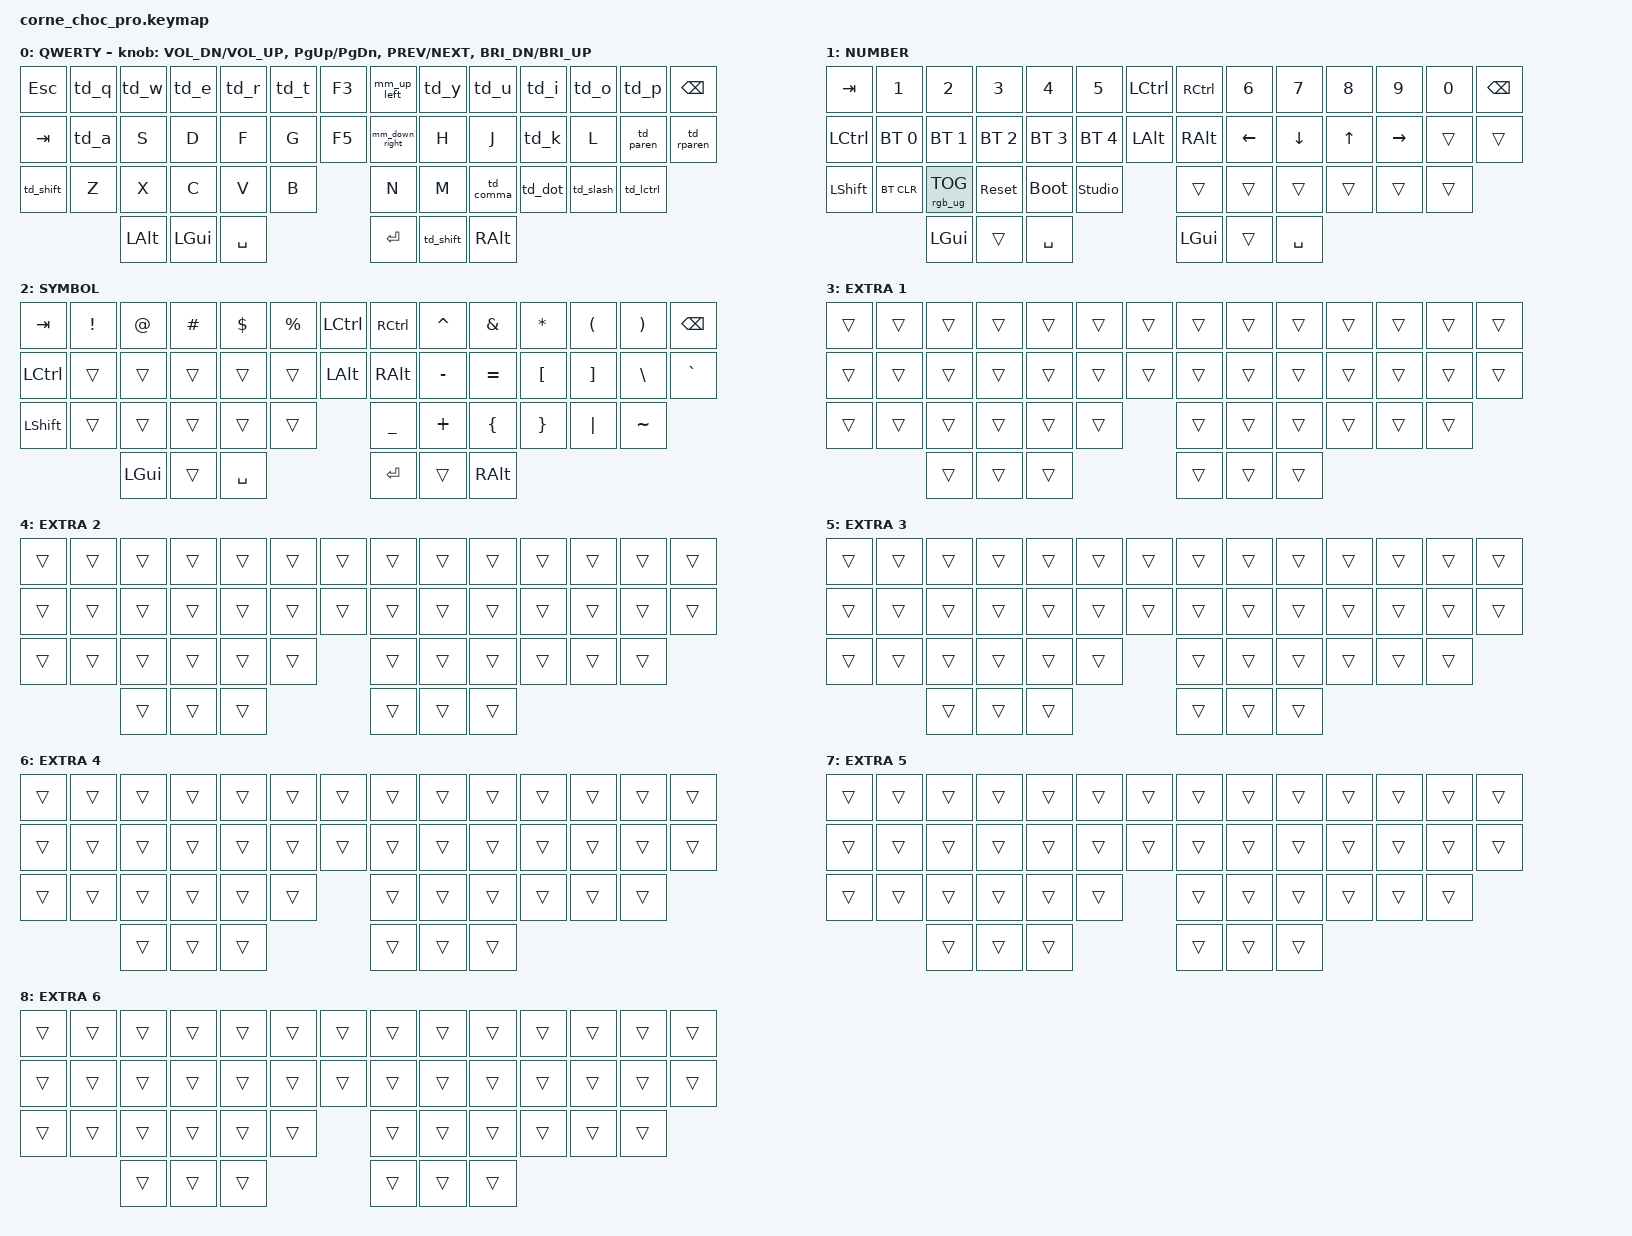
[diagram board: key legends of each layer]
/*
 * Copyright (c) 2020 The ZMK Contributors
 *
 * SPDX-License-Identifier: MIT
 */

#include <behaviors.dtsi>
#include <dt-bindings/zmk/keys.h>
#include <dt-bindings/zmk/bt.h>
#include <dt-bindings/zmk/rgb.h>

/ {

    

behaviors {

    // Generic hold-tap: HOLD (param1), TAP (param2)
    ht_kp: ht_kp {
        compatible = "zmk,behavior-hold-tap";
        label = "HT_KP";
        #binding-cells = <2>;
        tapping-term-ms = <250>;
        quick-tap-ms = <0>;
        flavor = "balanced";
        bindings = <&kp>, <&kp>;
    };

    // ─────────────────────────────
    // Letter row with numbers on hold + tap dance
    // ─────────────────────────────


td_q: td_q {
    compatible = "zmk,behavior-tap-dance";
    #binding-cells = <0>;
    tapping-term-ms = <200>;
    bindings = <&ht_kp N1 Q>, <&kp EXCL>;
};

td_w: td_w {
    compatible = "zmk,behavior-tap-dance";
    #binding-cells = <0>;
    tapping-term-ms = <200>;
    bindings = <&ht_kp N2 W>, <&kp LS(N2)>;
};

td_e: td_e {
    compatible = "zmk,behavior-tap-dance";
    #binding-cells = <0>;
    tapping-term-ms = <200>;
    bindings = <&ht_kp N3 E>;
};

td_r: td_r {
    compatible = "zmk,behavior-tap-dance";
    #binding-cells = <0>;
    tapping-term-ms = <200>;
    bindings = <&ht_kp N4 R>;
};

td_t: td_t {
    compatible = "zmk,behavior-tap-dance";
    #binding-cells = <0>;
    tapping-term-ms = <200>;
    bindings = <&ht_kp N5 T>, <&kp PRCNT>;
};

td_y: td_y {
    compatible = "zmk,behavior-tap-dance";
    #binding-cells = <0>;
    tapping-term-ms = <200>;
    bindings = <&ht_kp N6 Y>, <&kp LS(N7)>;
};

td_u: td_u {
    compatible = "zmk,behavior-tap-dance";
    #binding-cells = <0>;
    tapping-term-ms = <200>;
    bindings = <&ht_kp N7 U>, <&kp LBKT>;
};

td_i: td_i {
    compatible = "zmk,behavior-tap-dance";
    #binding-cells = <0>;
    tapping-term-ms = <200>;
    bindings = <&ht_kp N8 I>;
};

td_o: td_o {
    compatible = "zmk,behavior-tap-dance";
    #binding-cells = <0>;
    tapping-term-ms = <200>;
    bindings = <&ht_kp N9 O>, <&kp SEMI>;
};

td_p: td_p {
    compatible = "zmk,behavior-tap-dance";
    #binding-cells = <0>;
    tapping-term-ms = <200>;
    bindings = <&ht_kp N0 P>, <&kp LS(MINUS)>;
};

    // ─────────────────────────────
    // Rest Tap-Dance Keys
    // ─────────────────────────────

    td_a: td_a {
        compatible = "zmk,behavior-tap-dance";
        #binding-cells = <0>;
        tapping-term-ms = <200>;
        bindings = <&kp A>, <&kp SQT>;
    };

    td_k: td_k {
        compatible = "zmk,behavior-tap-dance";
        #binding-cells = <0>;
        tapping-term-ms = <200>;
        bindings = <&kp K>, <&kp KP_MULTIPLY>;

    };

    td_comma: td_comma {
        compatible = "zmk,behavior-tap-dance";
        #binding-cells = <0>;
        tapping-term-ms = <200>;
        bindings = <&kp COMMA>, <&kp LS(N0)>;

    };

    td_dot: td_dot {
        compatible = "zmk,behavior-tap-dance";
        #binding-cells = <0>;
        tapping-term-ms = <200>;
        bindings = <&ht_kp LS(FSLH) DOT>, <&kp LS(DOT)>;

    };

    td_slash: td_slash {
        compatible = "zmk,behavior-tap-dance";
        #binding-cells = <0>;
        tapping-term-ms = <200>;
        bindings = <&ht_kp NON_US_HASH FSLH>, <&kp RBKT>;

    };

    td_paren: td_paren {
        compatible = "zmk,behavior-tap-dance";
        #binding-cells = <0>;
        tapping-term-ms = <200>;
        bindings = <&ht_kp RA(N8) LS(N8)>, <&kp RA(N5)>;

    };

    td_rparen: td_rparen {
        compatible = "zmk,behavior-tap-dance";
        #binding-cells = <0>;
        tapping-term-ms = <200>;
        bindings = <&ht_kp RA(N9) LS(N9)>, <&kp RA(N6)>;

    };

    td_shift: td_shift {
        compatible = "zmk,behavior-tap-dance";
        #binding-cells = <0>;
        tapping-term-ms = <200>;
        bindings = <&kp LSHFT>, <&kp CAPS>;
    };

    
    td_lctrl: td_lctrl {
        compatible = "zmk,behavior-tap-dance";
        #binding-cells = <0>;
        tapping-term-ms = <200>;
        bindings = 
            <&kp LCTRL>,           // 1x Tap → Ctrl (auch Hold)
            <&rgb_ug RGB_TOG>,     // 2x Tap → RGB an/aus
            <&rgb_ug RGB_EFF>;     // 3x Tap → Effekt wechseln
    };


    mm_up_left: mm_up_left {
        compatible = "zmk,behavior-mod-morph";
        #binding-cells = <0>;
        bindings = <&kp UP>, <&kp LEFT>;
        mods = <(MOD_LGUI)>;
    };

    mm_down_right: mm_down_right {
        compatible = "zmk,behavior-mod-morph";
        #binding-cells = <0>;
        bindings = <&kp DOWN>, <&kp RIGHT>;
        mods = <(MOD_LGUI)>;
    };

    };



    keymap {
        compatible = "zmk,keymap";

        default_layer {
            display-name = "QWERTY";
            // ┌──────┬──────┬──────┬──────┬──────┬──────┬──────┬──────┬──────┬──────┬──────┬──────┬──────┬──────┐
            // │ ESC  │ Q(!) │ W(") │ E(3) │ R(4) │ T(%) │  F3  │  UP  │ Y(/) │ U(Ü) │ I(8) │ O(Ö) │ P(?) │ BSPC │
            // ├──────┼──────┼──────┼──────┼──────┼──────┼──────┼──────┼──────┼──────┼──────┼──────┼──────┼──────┤
            // │ TAB* │ A(Ä) │  S   │  D   │  F   │  G   │  F5  │ DOWN │  H   │  J   │ K(*) │   L  │(([ ) │ )()) │
            // ├──────┼──────┼──────┼──────┼──────┼──────┼──────┴──────┼──────┼──────┼──────┼──────┼──────┼──────┤
            // │ SFT* │  Z   │  X   │  C   │  V   │  B   │             │  N   │  M   │ ,(=) │ .(:_)│ -(+#)│ CTRL │
            // └──────┴──────┴──────┴──────┼──────┼──────┼──────┬──────┼──────┼──────┴──────┴──────┴──────┴──────┘
            //                             │ ALT* │ GUI  │  SPC │ ENT  │ SFT* │ ALT  │
            //                             └──────┴──────┴──────┴──────┴──────┴──────┘
           

bindings = <
    &kp ESC     &td_q   &td_w   &td_e   &td_r   &td_t   &kp F3     &mm_up_left     &td_y   &td_u   &td_i   &td_o   &td_p   &kp BSPC

    &kp TAB     &td_a   &kp S   &kp D   &kp F   &kp G   &kp F5     &mm_down_right   &kp H   &kp J   &td_k   &kp L   &td_paren   &td_rparen

    &td_shift   &kp Z   &kp X   &kp C   &kp V   &kp B              &kp N   &kp M   &td_comma   &td_dot   &td_slash   &td_lctrl

                          &kp LALT   &kp LGUI   &kp SPACE          &kp RET      &td_shift   &kp RALT
>;


            sensor-bindings = <&inc_dec_kp C_VOL_DN C_VOL_UP &inc_dec_kp PG_UP PG_DN &inc_dec_kp C_PREV C_NEXT &inc_dec_kp C_BRI_DN C_BRI_UP>;
        };

        lower_layer {
            display-name = "NUMBER";
            bindings = <
                &kp TAB   &kp N1       &kp N2          &kp N3       &kp N4       &kp N5       &kp LCTRL &kp RCTRL &kp N6   &kp N7   &kp N8 &kp N9    &kp N0 &kp BSPC
                &kp LCTRL &bt BT_SEL 0 &bt BT_SEL 1    &bt BT_SEL 2 &bt BT_SEL 3 &bt BT_SEL 4 &kp LALT  &kp RALT  &kp LEFT &kp DOWN &kp UP &kp RIGHT &trans &trans
                &kp LSHFT &bt BT_CLR   &rgb_ug RGB_TOG &sys_reset   &bootloader  &studio_unlock                   &trans   &trans   &trans &trans    &trans &trans
                                                        &kp LGUI     &trans       &kp SPACE                        &kp LGUI &trans   &kp SPACE
            >;
        };

        raise_layer {
            display-name = "SYMBOL";
            bindings = <
                &kp  TAB  &kp EXCL &kp AT &kp HASH &kp DLLR &kp PRCNT &kp LCTRL &kp RCTRL &kp CARET &kp AMPS &kp ASTRK &kp LPAR &kp RPAR &kp BSPC
                &kp LCTRL &trans   &trans &trans   &trans   &trans    &kp LALT  &kp RALT  &kp MINUS &kp EQUAL &kp LBKT &kp RBKT &kp BSLH &kp GRAVE
                &kp LSHFT &trans   &trans &trans   &trans   &trans                        &kp UNDER &kp PLUS  &kp LBRC &kp RBRC &kp PIPE &kp TILDE
                                           &kp LGUI &trans   &kp SPACE                     &kp RET   &trans    &kp RALT
            >;
        };

        extra_layer_1 {
            display-name = "EXTRA 1";
            bindings = <
                &trans &trans &trans &trans &trans &trans &trans &trans &trans &trans &trans &trans &trans &trans
                &trans &trans &trans &trans &trans &trans &trans &trans &trans &trans &trans &trans &trans &trans
                &trans &trans &trans &trans &trans &trans               &trans &trans &trans &trans &trans &trans
                                     &trans &trans &trans               &trans &trans &trans       
            >;
        };

        extra_layer_2 {
            display-name = "EXTRA 2";
            bindings = <
                &trans &trans &trans &trans &trans &trans &trans &trans &trans &trans &trans &trans &trans &trans
                &trans &trans &trans &trans &trans &trans &trans &trans &trans &trans &trans &trans &trans &trans
                &trans &trans &trans &trans &trans &trans               &trans &trans &trans &trans &trans &trans
                                     &trans &trans &trans               &trans &trans &trans       
            >;
        };

        extra_layer_3 {
            display-name = "EXTRA 3";
            bindings = <
                &trans &trans &trans &trans &trans &trans &trans &trans &trans &trans &trans &trans &trans &trans
                &trans &trans &trans &trans &trans &trans &trans &trans &trans &trans &trans &trans &trans &trans
                &trans &trans &trans &trans &trans &trans               &trans &trans &trans &trans &trans &trans
                                     &trans &trans &trans               &trans &trans &trans       
            >;
        };

        extra_layer_4 {
            display-name = "EXTRA 4";
            bindings = <
                &trans &trans &trans &trans &trans &trans &trans &trans &trans &trans &trans &trans &trans &trans
                &trans &trans &trans &trans &trans &trans &trans &trans &trans &trans &trans &trans &trans &trans
                &trans &trans &trans &trans &trans &trans               &trans &trans &trans &trans &trans &trans
                                     &trans &trans &trans               &trans &trans &trans       
            >;
        };

        extra_layer_5 {
            display-name = "EXTRA 5";
            bindings = <
                &trans &trans &trans &trans &trans &trans &trans &trans &trans &trans &trans &trans &trans &trans
                &trans &trans &trans &trans &trans &trans &trans &trans &trans &trans &trans &trans &trans &trans
                &trans &trans &trans &trans &trans &trans               &trans &trans &trans &trans &trans &trans
                                     &trans &trans &trans               &trans &trans &trans       
            >;
        };

        extra_layer_6 {
            display-name = "EXTRA 6";
            bindings = <
                &trans &trans &trans &trans &trans &trans &trans &trans &trans &trans &trans &trans &trans &trans
                &trans &trans &trans &trans &trans &trans &trans &trans &trans &trans &trans &trans &trans &trans
                &trans &trans &trans &trans &trans &trans               &trans &trans &trans &trans &trans &trans
                                     &trans &trans &trans               &trans &trans &trans       
            >;
        };
    };
};
